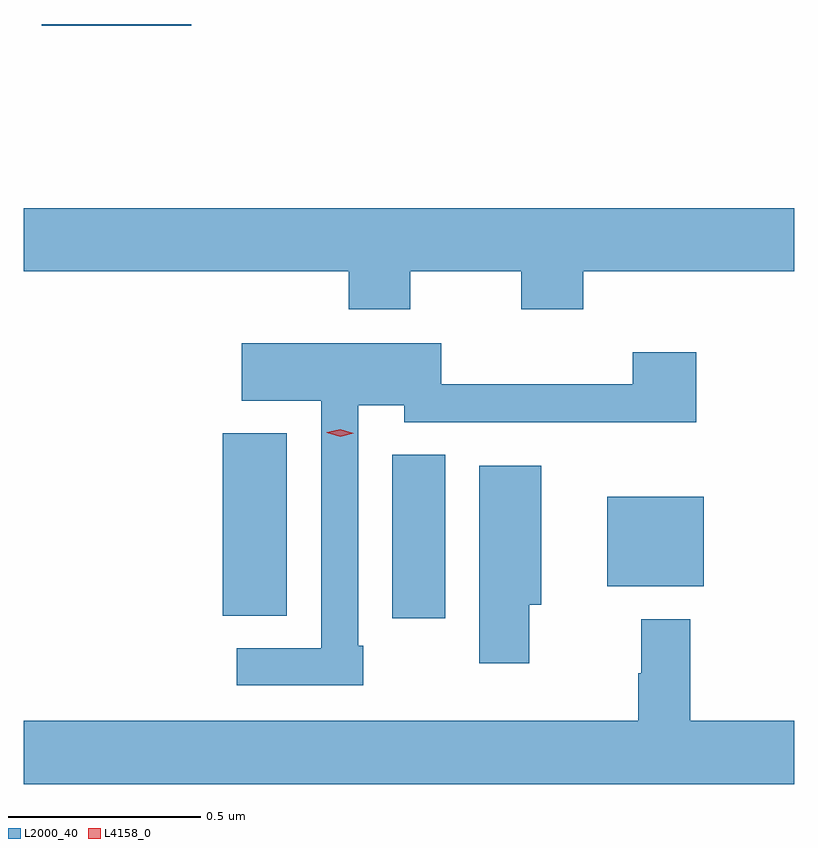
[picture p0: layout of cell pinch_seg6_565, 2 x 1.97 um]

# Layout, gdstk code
import gdstk
lib = gdstk.Library(unit=1e-6, precision=1e-09)
def R(c, l, rs):  # rectangles x0, y0, x1, y1
    for r in rs: c.add(gdstk.rectangle(r[:2], r[2:], *l))
def P(c, l, *ps):  # polygons
    for p in ps: c.add(gdstk.Polygon(p, *l))
L2000_40 = (2000, 40)
L4158_0 = (4158, 0)

pinch_seg6_565 = lib.new_cell('pinch_seg6_565')
R(pinch_seg6_565, L2000_40, [(526.997,994.386,527.134,994.811), (526.556,994.393,526.723,994.867), (527.555,994.469,527.806,994.702), (526.086,995.926,526.474,995.93)])
P(pinch_seg6_565, L2000_40, [(527.043,995.288),(527.332,995.288),(527.332,995.189),(527.492,995.189),(527.492,995.288),(528.04,995.288),(528.04,995.452),(526.04,995.452),(526.04,995.288),(526.883,995.288),(526.883,995.189),(527.043,995.189)],
  [(526.921,994.315),(526.908,994.315),(526.908,994.94),(527.028,994.94),(527.028,994.896),(527.537,994.896),(527.537,994.895),(527.786,994.895),(527.786,995.077),(527.621,995.077),(527.621,994.994),(527.124,994.994),(527.124,995.101),(526.605,995.101),(526.605,994.952),(526.812,994.952),(526.812,994.308),(526.593,994.308),(526.593,994.212),(526.921,994.212)],
  [(527.352,994.421),(527.383,994.421),(527.383,994.783),(527.222,994.783),(527.222,994.269),(527.352,994.269)],
  [(528.04,994.12),(527.771,994.12),(527.771,994.384),(527.643,994.384),(527.643,994.244),(527.635,994.244),(527.635,994.12),(526.04,994.12),(526.04,993.956),(528.04,993.956)])
P(pinch_seg6_565, L4158_0, [(526.861,994.858),(526.826,994.868),(526.826,994.868),(526.826,994.869),(526.861,994.878),(526.896,994.867),(526.896,994.867),(526.896,994.867)])

lib.write_gds('pinch_seg6_565.gds')
